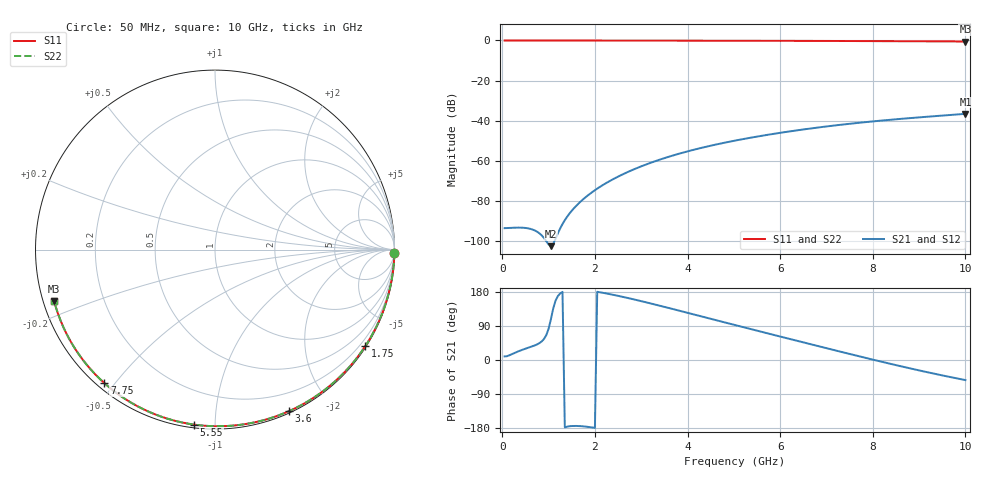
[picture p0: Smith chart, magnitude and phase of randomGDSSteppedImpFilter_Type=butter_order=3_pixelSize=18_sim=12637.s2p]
! freq	dB(S11)	phase(S11)	dB(S12)	phase(S12)
!  dB(S21)	phase(S21)	dB(S22)	phase(S22)
!S-par simulation data
#  GHz  S  DB  R 50
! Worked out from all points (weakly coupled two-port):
!   200 points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, 50 MHz to 10 GHz, reference 50 ohm
!   highest |S21| = -36.51 dB at 10 GHz (marker M1); lowest = -102.3 dB at 1.05 GHz (marker M2)
!   lowest |S11| = -0.5 dB at 10 GHz (marker M3), VSWR 33.01, Z = 1.55 - j7.83 ohm
!   |S11| at or under -10 dB: nowhere
!   |S22| runs from -0.5 to 0.0 dB; largest |S21 - S12| = 0
!   S11 on the Smith chart (normalised r, x): 50 MHz: open; 1.75 GHz: 0.03, -3.40; 3.6 GHz: 0.02, -1.56; 5.55 GHz: 0.02, -0.89; 7.75 GHz: 0.02, -0.47; 10 GHz: 0.03, -0.16
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0.05  -0.00 -0.9  -93.37 9.4  -93.37 9.4  -0.00 -1.0
0.55  -0.01 -10.4  -93.44 31.9  -93.44 31.9  -0.01 -10.4
1.05  -0.02 -19.8  -102.33 107.8  -102.33 107.8  -0.02 -19.8
1.7  -0.04 -31.8  -79.95 -174.6  -79.95 -174.6  -0.04 -31.8
1.75  -0.04 -32.7  -78.93 -175.1  -78.93 -175.1  -0.04 -32.7
1.9  -0.05 -35.5  -76.15 -177.3  -76.15 -177.3  -0.05 -35.5
2.05  -0.05 -38.2  -73.71 180.0  -73.71 180.0  -0.05 -38.2
2.25  -0.05 -41.8  -70.84 175.6  -70.84 175.6  -0.05 -41.8
2.45  -0.06 -45.4  -68.32 170.6  -68.32 170.6  -0.06 -45.4
2.9  -0.07 -53.3  -63.54 158.3  -63.54 158.3  -0.07 -53.3
3.4  -0.08 -61.9  -59.28 143.3  -59.28 143.3  -0.08 -61.9
3.6  -0.09 -65.3  -57.81 137.1  -57.81 137.1  -0.09 -65.3
4.25  -0.11 -76.2  -53.71 116.6  -53.71 116.6  -0.11 -76.2
5.05  -0.14 -89.1  -49.71 91.5  -49.71 91.5  -0.14 -89.1
5.55  -0.16 -96.9  -47.62 75.9  -47.62 75.9  -0.16 -96.9
6.1  -0.19 -105.3  -45.60 58.8  -45.60 58.8  -0.19 -105.3
6.7  -0.22 -114.2  -43.66 40.3  -43.66 40.3  -0.22 -114.2
7.2  -0.26 -121.6  -42.23 25.0  -42.23 25.0  -0.26 -121.6
7.75  -0.30 -129.6  -40.84 8.4  -40.84 8.4  -0.30 -129.6
8.35  -0.35 -138.2  -39.52 -9.2  -39.52 -9.2  -0.35 -138.2
9.2  -0.44 -150.5  -37.90 -32.8  -37.90 -32.8  -0.44 -150.5
10  -0.53 -162.2  -36.51 -53.0  -36.51 -53.0  -0.53 -162.2
